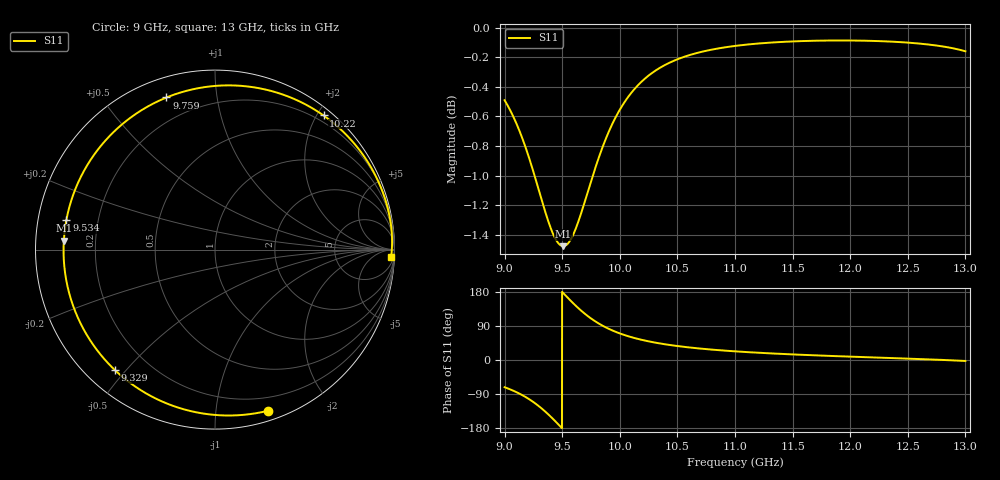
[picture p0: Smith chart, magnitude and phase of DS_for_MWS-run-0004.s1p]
! TOUCHSTONE file generated by CST DESIGN STUDIO
! Date and time: Tue Feb  4 17:04:20 2025
! Project name: C:\Work\MatlabApps\UnitCellOptimizationMatlab\CST\unitcell.cst
! Tree item: Tasks\Sweep1\SPara1\S-Parameters
! Header version: 2024
! Port assignment regex: !\s*Touchstone port\s*([0-9]+)\s*=\s*(CST MWS port|CST DES external port|CST DES block port)\s*(.+)\s* \(\"(.*)\"\)(\s*mode\s*([0-9]+))?.*
! Touchstone port assignment:
! Touchstone port 1 = CST DES external port 1 ("")
# GHz S MA R 50
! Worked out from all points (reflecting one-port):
!   4001 points, 9 GHz to 13 GHz, reference 50 ohm
!   lowest |S11| = -1.5 dB at 9.509 GHz (marker M1), VSWR 11.80, Z = 4.24 + j1.48 ohm
!   phase of S11 starts at -72 deg and turns -291 deg over the sweep
!   S11 on the Smith chart (normalised r, x): 9 GHz: 0.08, -1.38; 9.329 GHz: 0.08, -0.47; 9.534 GHz: 0.09, +0.10; 9.759 GHz: 0.09, +0.73; 10.22 GHz: 0.11, +2.09; 13 GHz: 16, -39
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9  0.9451 -71.8
9.087  0.931 -82.6
9.19  0.9092 -99.1
9.262  0.8907 -113.6
9.329  0.8727 -129.7
9.374  0.8614 -142.0
9.422  0.8515 -156.1
9.462  0.8461 -168.5
9.5  0.8438 179.5
9.509  0.8437 176.6
9.534  0.8444 168.7
9.587  0.8499 152.2
9.649  0.862 134.4
9.703  0.8752 120.4
9.759  0.8895 107.7
9.808  0.9016 98.0
9.863  0.9139 88.5
10  0.9381 70.1
10.105  0.9511 59.8
10.222  0.9614 51.0
10.351  0.9693 43.5
10.5  0.9756 36.9
10.722  0.9816 29.5
11  0.9858 22.8
11.5  0.9893 14.7
12  0.99 8.9
12.5  0.9884 3.6
13  0.9817 -2.5
